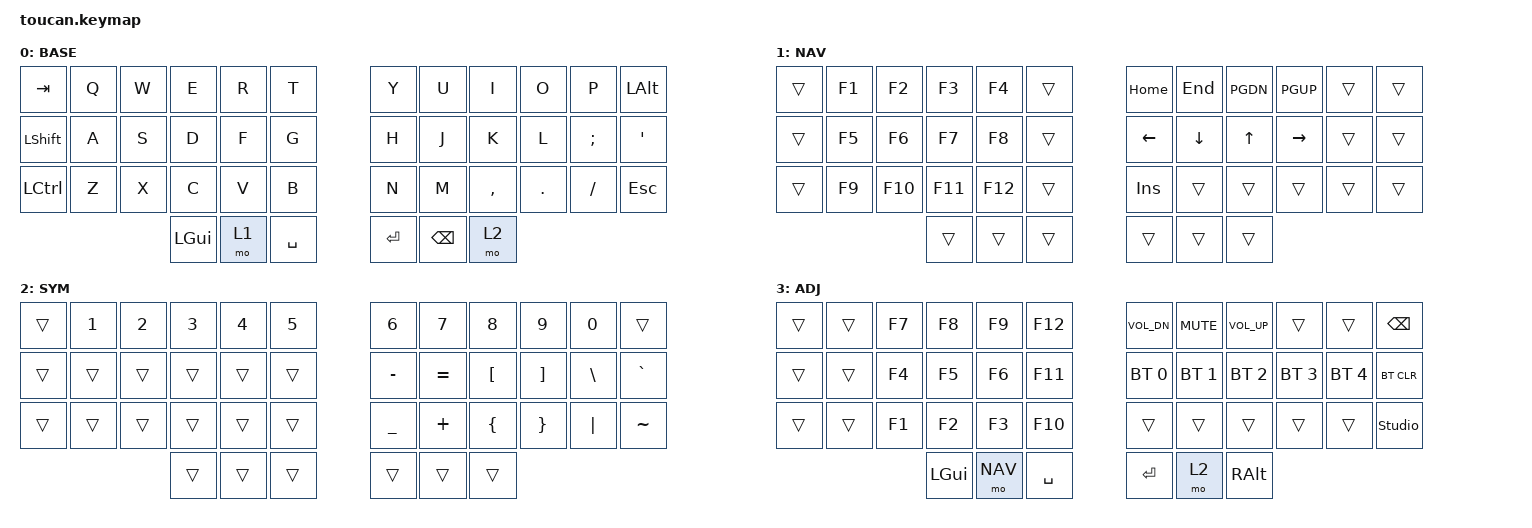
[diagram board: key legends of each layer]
#include <behaviors.dtsi>
#include <dt-bindings/zmk/keys.h>
#include <dt-bindings/zmk/bt.h>
#include <dt-bindings/zmk/outputs.h>

#define BASE 0
#define NAV  1
#define SYM  2
#define ADJ  3

/ {
    conditional_layers {
        compatible = "zmk,conditional-layers";
        tri_layer {
            if-layers = <1 2>;
            then-layer = <3>;
        };
    };

    keymap {
        compatible = "zmk,keymap";

        base {
            display-name = "BASE";
            bindings = <
                &kp TAB    &kp Q  &kp W  &kp E     &kp R   &kp T            &kp Y    &kp U     &kp I      &kp O    &kp P     &kp LALT
                &kp LSHFT  &kp A  &kp S  &kp D     &kp F   &kp G            &kp H    &kp J     &kp K      &kp L    &kp SEMI  &kp SQT
                &kp LCTRL  &kp Z  &kp X  &kp C     &kp V   &kp B            &kp N    &kp M     &kp COMMA  &kp DOT  &kp FSLH  &kp ESC
                                         &kp LGUI  &mo 1   &kp SPACE        &kp RET  &kp BSPC  &mo 2  
            >;
        };

        nav {
            display-name = "NAV";
            bindings = <
                &trans  &kp F1  &kp F2   &kp F3   &kp F4   &trans           &kp HOME  &kp END   &kp PGDN  &kp PGUP   &trans  &trans
                &trans  &kp F5  &kp F6   &kp F7   &kp F8   &trans           &kp LEFT  &kp DOWN  &kp UP    &kp RIGHT  &trans  &trans
                &trans  &kp F9  &kp F10  &kp F11  &kp F12  &trans           &kp INS   &trans    &trans    &trans     &trans  &trans
                                         &trans   &trans   &trans           &trans    &trans    &trans
            >;
        };

        sym {
            display-name = "SYM";
            bindings = <
                &trans   &kp N1  &kp N2  &kp N3  &kp N4  &kp N5             &kp N6  &kp N7  &kp N8  &kp N9  &kp N0  &trans
                &trans   &trans  &trans  &trans  &trans  &trans             &kp MINUS &kp EQUAL &kp LBKT        &kp RBKT &kp BSLH &kp GRAVE
                &trans   &trans  &trans  &trans  &trans  &trans             &kp UNDER &kp PLUS  &kp LBRC        &kp RBRC &kp PIPE &kp TILDE
                                         &trans  &trans  &trans             &trans    &trans    &trans
            >;
        };

        adj {
            display-name = "ADJ";
            bindings = <
                &trans   &trans &kp F7  &kp F8  &kp F9 &kp F12   &kp C_VOL_DN  &kp C_MUTE    &kp C_VOL_UP   &trans         &trans        &kp BSPC
                &trans   &trans &kp F4 &kp F5 &kp F6 &kp F11   &bt BT_SEL 0  &bt BT_SEL 1  &bt BT_SEL 2   &bt BT_SEL 3   &bt BT_SEL 4  &bt BT_CLR
                &trans   &trans &kp F1 &kp F2 &kp F3 &kp F10   &trans       &trans      &trans       &trans &trans &studio_unlock
                                   &kp LGUI &mo NAV &kp SPACE   &kp RET &mo 2 &kp RALT
            >;
        };
        extra_1 {
                status = "reserved";
        };

        extra_2 {
                status = "reserved";
        };

        extra_3 {
                status = "reserved";
        };
    };
};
